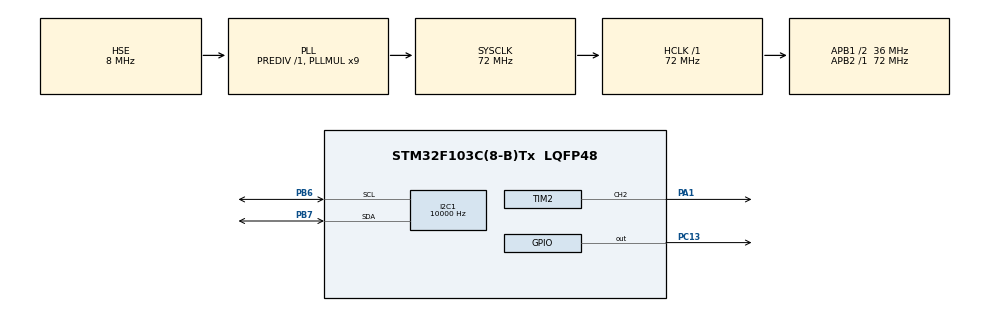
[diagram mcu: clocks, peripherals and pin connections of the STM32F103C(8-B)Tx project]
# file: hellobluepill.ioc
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I2C1.ClockSpeed=10000
Mcu.Family=STM32F1
Mcu.Name=STM32F103C(8-B)Tx
Mcu.Package=LQFP48
NVIC.PriorityGroup=NVIC_PRIORITYGROUP_4
NVIC.TIM4_IRQn=true\:0\:0\:false\:false\:true\:true\:true
PA1.Signal=S_TIM2_CH2
PA13.Mode=Serial_Wire
PA13.Signal=SYS_JTMS-SWDIO
PA14.Mode=Serial_Wire
PA14.Signal=SYS_JTCK-SWCLK
PB6.Mode=I2C
PB6.Signal=I2C1_SCL
PB7.Mode=I2C
PB7.Signal=I2C1_SDA
PC13-TAMPER-RTC.Signal=GPIO_Output
PC14-OSC32_IN.Mode=LSE-External-Oscillator
PC14-OSC32_IN.Signal=RCC_OSC32_IN
PC15-OSC32_OUT.Mode=LSE-External-Oscillator
PC15-OSC32_OUT.Signal=RCC_OSC32_OUT
PD0-OSC_IN.Mode=HSE-External-Oscillator
PD0-OSC_IN.Signal=RCC_OSC_IN
PD1-OSC_OUT.Mode=HSE-External-Oscillator
PD1-OSC_OUT.Signal=RCC_OSC_OUT
ProjectManager.HeapSize=0x200
ProjectManager.StackSize=0x400
ProjectManager.TargetToolchain=Makefile
RCC.AHBFreq_Value=72000000
RCC.APB1CLKDivider=RCC_HCLK_DIV2
RCC.APB1Freq_Value=36000000
RCC.APB1TimFreq_Value=72000000
RCC.APB2Freq_Value=72000000
RCC.APB2TimFreq_Value=72000000
RCC.HCLKFreq_Value=72000000
RCC.PLLMUL=RCC_PLL_MUL9
RCC.PLLSourceVirtual=RCC_PLLSOURCE_HSE
RCC.SYSCLKFreq_VALUE=72000000
RCC.SYSCLKSource=RCC_SYSCLKSOURCE_PLLCLK
RCC.USBFreq_Value=72000000
SH.S_TIM2_CH2.0=TIM2_CH2,PWM Generation2 CH2
TIM2.Channel-PWM\ Generation2\ CH2=TIM_CHANNEL_2
TIM2.Period=10000
TIM2.Prescaler=7200-1
TIM2.Pulse-PWM\ Generation2\ CH2=10000
TIM4.Period=10000
TIM4.Prescaler=7200-1
VP_TIM2_VS_ClockSourceINT.Mode=Internal
VP_TIM4_VS_ClockSourceINT.Mode=Internal
board=custom

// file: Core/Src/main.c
/* USER CODE BEGIN Header */
/**
  ******************************************************************************
  * @file           : main.c
  * @brief          : Main program body
  ******************************************************************************
  * @attention
  *
  * <h2><center>&copy; Copyright (c) 2021 STMicroelectronics.
  * All rights reserved.</center></h2>
  *
  * This software component is licensed by ST under BSD 3-Clause license,
  * the "License"; You may not use this file except in compliance with the
  * License. You may obtain a copy of the License at:
  *                        opensource.org/licenses/BSD-3-Clause
  *
  ******************************************************************************
  */
/* USER CODE END Header */
#include "main.h"

/* USER CODE BEGIN Includes */
#include "tmp117.h"
/* USER CODE END Includes */

I2C_HandleTypeDef hi2c1;

TIM_HandleTypeDef htim2;
TIM_HandleTypeDef htim4;

/* USER CODE BEGIN PV */
#define I2C_PORT (hi2c1)

// Sensor de Temperatura
float TempCelsiusTemporaria;
float TempCelsius, TempCelsiusUser;
float TempCelsiusMed, TempSoma = 0.0;

//PID
float setpoint, setpointUser, kp, ki, kd, erroAtual, erroInt, erroAnt, Ts, yiAnt, ydAnt, Nd,tim4ms, y, yPWM;
uint32_t yPWMint = 10000;
float yp, yi, yd;
/* USER CODE END PV */

void SystemClock_Config(void);
static void MX_GPIO_Init(void);
static void MX_I2C1_Init(void);
static void MX_TIM2_Init(void);
static void MX_TIM4_Init(void);
/* USER CODE BEGIN PFP */
void calcPid(void){
    Ts = tim4ms;

    erroAtual = setpoint - TempCelsiusMed;
    yp = kp*erroAtual;
    yi = ki*Ts*(erroAtual+erroAnt)/2.0 + yiAnt;
    yd = kd*Nd*(erroAtual-erroAnt) + (1-Nd*Ts)*ydAnt;
    y = yp+yi+yd;

    yiAnt = yi;
    ydAnt = yd;
    erroAnt = erroAtual;

    if (y>100)
    {
      y = 100;
    }
    else if (y<0)
    {
      y = 0;
    }

    yPWM = 10000*(100-y)/100;
    //yPWM = htim2.Instance->ARR*(100)/100;
    htim2.Instance->CCR2 = yPWM;
}
void HAL_TIM_PeriodElapsedCallback (TIM_HandleTypeDef * htim) // Interrupt do passo do motor
{
  TempCelsiusUser = TempCelsiusMed;
  calcPid();
  //htim2.Instance->CCR2 = 0; // Para fazer curva em malha aberta
}
/* USER CODE END PFP */

int main(void)
{
  /* USER CODE BEGIN 1 */
  // Sensor Temp
  uint32_t iMedia = 1;
  /* USER CODE END 1 */

  /* MCU Configuration--------------------------------------------------------*/

  /* Reset of all peripherals, Initializes the Flash interface and the Systick. */
  HAL_Init();

  /* Configure the system clock */
  SystemClock_Config();

  /* Initialize all configured peripherals */
  MX_GPIO_Init();
  MX_I2C1_Init();
  MX_TIM2_Init();
  MX_TIM4_Init();
  /* USER CODE BEGIN 2 */

  // Timer de Aquecimento
  HAL_TIM_PWM_Start(&htim2, TIM_CHANNEL_2);

  //Sensor Temp
  TMP117_Initialization_DEFAULT(I2C_PORT);

  //PID
  setpoint = 37;
  TempCelsius = 25.0;
  TempCelsiusUser = 25;

  kp = 10.0; //Calibrar depois
  ki = 0.03;
  kd = 10.0;
  erroAnt = 0.0; //Qual o valor inicial?
  yiAnt = 0.0;
  ydAnt = 0.0;
  Nd = 1; // Filtro

  /* USER CODE END 2 */

  /* Infinite loop */
  /* USER CODE BEGIN WHILE */
  while (1)
  {

    HAL_GPIO_WritePin(GPIOC, GPIO_PIN_13, 0); // LED

    if(TMP117_get_Temperature(I2C_PORT, &TempCelsiusTemporaria)==HAL_OK)
    {
      // Interrupt do PID
      HAL_TIM_Base_Start_IT(&htim4);
      TempCelsius = TempCelsiusTemporaria; //tudo ok, pode usar variavel temporaria
    }

    if(iMedia<=10) // Faz a media da temparatura de 10 amostras
    {
      TempSoma = TempSoma + TempCelsius;
      iMedia++;
    }
    else
    {
      TempCelsiusMed = TempSoma/10.0;
      iMedia = 1;
      TempSoma = 0.0;
    }

    /* USER CODE END WHILE */

  }
}

void SystemClock_Config(void)
{
  RCC_OscInitTypeDef RCC_OscInitStruct = {0};
  RCC_ClkInitTypeDef RCC_ClkInitStruct = {0};

  /** Initializes the RCC Oscillators according to the specified parameters
  * in the RCC_OscInitTypeDef structure.
  */
  RCC_OscInitStruct.OscillatorType = RCC_OSCILLATORTYPE_HSE;
  RCC_OscInitStruct.HSEState = RCC_HSE_ON;
  RCC_OscInitStruct.HSEPredivValue = RCC_HSE_PREDIV_DIV1;
  RCC_OscInitStruct.HSIState = RCC_HSI_ON;
  RCC_OscInitStruct.PLL.PLLState = RCC_PLL_ON;
  RCC_OscInitStruct.PLL.PLLSource = RCC_PLLSOURCE_HSE;
  RCC_OscInitStruct.PLL.PLLMUL = RCC_PLL_MUL9;
  if (HAL_RCC_OscConfig(&RCC_OscInitStruct) != HAL_OK)
  {
    Error_Handler();
  }
  /** Initializes the CPU, AHB and APB buses clocks
  */
  RCC_ClkInitStruct.ClockType = RCC_CLOCKTYPE_HCLK|RCC_CLOCKTYPE_SYSCLK
                              |RCC_CLOCKTYPE_PCLK1|RCC_CLOCKTYPE_PCLK2;
  RCC_ClkInitStruct.SYSCLKSource = RCC_SYSCLKSOURCE_PLLCLK;
  RCC_ClkInitStruct.AHBCLKDivider = RCC_SYSCLK_DIV1;
  RCC_ClkInitStruct.APB1CLKDivider = RCC_HCLK_DIV2;
  RCC_ClkInitStruct.APB2CLKDivider = RCC_HCLK_DIV1;

  if (HAL_RCC_ClockConfig(&RCC_ClkInitStruct, FLASH_LATENCY_2) != HAL_OK)
  {
    Error_Handler();
  }
}

static void MX_I2C1_Init(void)
{

  hi2c1.Instance = I2C1;
  hi2c1.Init.ClockSpeed = 10000;
  hi2c1.Init.DutyCycle = I2C_DUTYCYCLE_2;
  hi2c1.Init.OwnAddress1 = 0;
  hi2c1.Init.AddressingMode = I2C_ADDRESSINGMODE_7BIT;
  hi2c1.Init.DualAddressMode = I2C_DUALADDRESS_DISABLE;
  hi2c1.Init.OwnAddress2 = 0;
  hi2c1.Init.GeneralCallMode = I2C_GENERALCALL_DISABLE;
  hi2c1.Init.NoStretchMode = I2C_NOSTRETCH_DISABLE;
  if (HAL_I2C_Init(&hi2c1) != HAL_OK)
  {
    Error_Handler();
  }

}

static void MX_TIM2_Init(void)
{

  TIM_ClockConfigTypeDef sClockSourceConfig = {0};
  TIM_MasterConfigTypeDef sMasterConfig = {0};
  TIM_OC_InitTypeDef sConfigOC = {0};

  htim2.Instance = TIM2;
  htim2.Init.Prescaler = 7200-1;
  htim2.Init.CounterMode = TIM_COUNTERMODE_UP;
  htim2.Init.Period = 10000;
  htim2.Init.ClockDivision = TIM_CLOCKDIVISION_DIV1;
  htim2.Init.AutoReloadPreload = TIM_AUTORELOAD_PRELOAD_DISABLE;
  if (HAL_TIM_Base_Init(&htim2) != HAL_OK)
  {
    Error_Handler();
  }
  sClockSourceConfig.ClockSource = TIM_CLOCKSOURCE_INTERNAL;
  if (HAL_TIM_ConfigClockSource(&htim2, &sClockSourceConfig) != HAL_OK)
  {
    Error_Handler();
  }
  if (HAL_TIM_PWM_Init(&htim2) != HAL_OK)
  {
    Error_Handler();
  }
  sMasterConfig.MasterOutputTrigger = TIM_TRGO_RESET;
  sMasterConfig.MasterSlaveMode = TIM_MASTERSLAVEMODE_DISABLE;
  if (HAL_TIMEx_MasterConfigSynchronization(&htim2, &sMasterConfig) != HAL_OK)
  {
    Error_Handler();
  }
  sConfigOC.OCMode = TIM_OCMODE_PWM1;
  sConfigOC.Pulse = 10000;
  sConfigOC.OCPolarity = TIM_OCPOLARITY_HIGH;
  sConfigOC.OCFastMode = TIM_OCFAST_DISABLE;
  if (HAL_TIM_PWM_ConfigChannel(&htim2, &sConfigOC, TIM_CHANNEL_2) != HAL_OK)
  {
    Error_Handler();
  }
  HAL_TIM_MspPostInit(&htim2);

}

static void MX_TIM4_Init(void)
{

  TIM_ClockConfigTypeDef sClockSourceConfig = {0};
  TIM_MasterConfigTypeDef sMasterConfig = {0};

  htim4.Instance = TIM4;
  htim4.Init.Prescaler = 7200-1;
  htim4.Init.CounterMode = TIM_COUNTERMODE_UP;
  htim4.Init.Period = 10000;
  htim4.Init.ClockDivision = TIM_CLOCKDIVISION_DIV1;
  htim4.Init.AutoReloadPreload = TIM_AUTORELOAD_PRELOAD_DISABLE;
  if (HAL_TIM_Base_Init(&htim4) != HAL_OK)
  {
    Error_Handler();
  }
  sClockSourceConfig.ClockSource = TIM_CLOCKSOURCE_INTERNAL;
  if (HAL_TIM_ConfigClockSource(&htim4, &sClockSourceConfig) != HAL_OK)
  {
    Error_Handler();
  }
  sMasterConfig.MasterOutputTrigger = TIM_TRGO_RESET;
  sMasterConfig.MasterSlaveMode = TIM_MASTERSLAVEMODE_DISABLE;
  if (HAL_TIMEx_MasterConfigSynchronization(&htim4, &sMasterConfig) != HAL_OK)
  {
    Error_Handler();
  }
  /* USER CODE BEGIN TIM4_Init 2 */
  tim4ms = (htim4.Init.Prescaler+1)*htim4.Init.Period/72000000.0;
  /* USER CODE END TIM4_Init 2 */

}

static void MX_GPIO_Init(void)
{
  GPIO_InitTypeDef GPIO_InitStruct = {0};

  /* GPIO Ports Clock Enable */
  __HAL_RCC_GPIOC_CLK_ENABLE();
  __HAL_RCC_GPIOD_CLK_ENABLE();
  __HAL_RCC_GPIOA_CLK_ENABLE();
  __HAL_RCC_GPIOB_CLK_ENABLE();

  /*Configure GPIO pin Output Level */
  HAL_GPIO_WritePin(GPIOC, GPIO_PIN_13, GPIO_PIN_RESET);

  /*Configure GPIO pin : PC13 */
  GPIO_InitStruct.Pin = GPIO_PIN_13;
  GPIO_InitStruct.Mode = GPIO_MODE_OUTPUT_PP;
  GPIO_InitStruct.Pull = GPIO_NOPULL;
  GPIO_InitStruct.Speed = GPIO_SPEED_FREQ_LOW;
  HAL_GPIO_Init(GPIOC, &GPIO_InitStruct);

}

void Error_Handler(void)
{
  __disable_irq();
  while (1)
  {
  }
}

/************************ (C) COPYRIGHT STMicroelectronics *****END OF FILE****/
